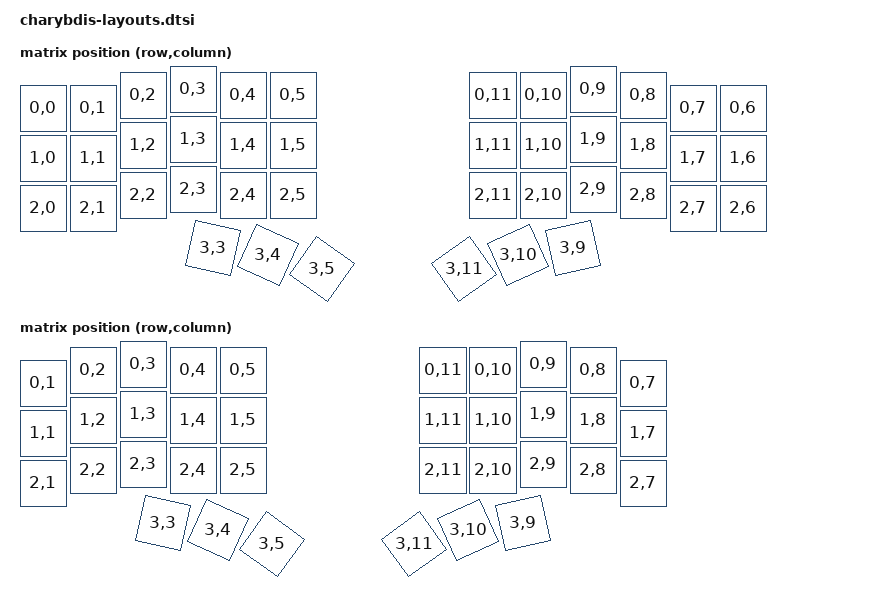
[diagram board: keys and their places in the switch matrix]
/*
 * Copyright (c) 2026 The ZMK Contributors
 * SPDX-License-Identifier: MIT
 *
 * Matrix Transforms & Physical Layouts for V&Z-MINI36M (Charybdis Mini MOD 42-key: 3x6 + 3L/3R thumbs)
 * Shared identically across all shields (Left, Right Central, Right Peripheral, and Central Dongle).
 */

#include <dt-bindings/zmk/matrix_transform.h>
#include <physical_layouts.dtsi>

/ {
    /*
     * Основная матрица трансформации — 42 клавиши (3x6 + 3 тамб-клавиши слева и 3 справа).
     * Восстановлена 1-в-1 из заводского бинарника charybdis_right-nice_nano_v2-zmk.uf2 (@ 0x0005DC78):
     * - Левая половина: колонки 0..5 (слева направо), тамб-кластер на RC(3,3), RC(3,4), RC(3,5).
     * - Правая половина (col-offset = <6>): зеркальный порядок колонок 11..6 (от центра к мизинцу),
     *   симметричный тамб-кластер из 3 клавиш на RC(3,11), RC(3,10), RC(3,9).
     */
    default_transform: keymap_transform_0 {
        compatible = "zmk,matrix-transform";
        columns = <12>;
        rows = <4>;

        map = <
            RC(0,0) RC(0,1) RC(0,2) RC(0,3) RC(0,4) RC(0,5)   RC(0,11) RC(0,10) RC(0,9) RC(0,8) RC(0,7) RC(0,6)
            RC(1,0) RC(1,1) RC(1,2) RC(1,3) RC(1,4) RC(1,5)   RC(1,11) RC(1,10) RC(1,9) RC(1,8) RC(1,7) RC(1,6)
            RC(2,0) RC(2,1) RC(2,2) RC(2,3) RC(2,4) RC(2,5)   RC(2,11) RC(2,10) RC(2,9) RC(2,8) RC(2,7) RC(2,6)
                                    RC(3,3) RC(3,4) RC(3,5)   RC(3,11) RC(3,10) RC(3,9)
        >;
    };

    /*
     * Дополнительная виртуальная матрица 3x5+3 (36 клавиш, без внешних мизинцевых колонок col 0 и col 6),
     * доступная для переключения прямо в интерфейсе ZMK Studio.
     */
    five_column_transform: keymap_transform_1 {
        compatible = "zmk,matrix-transform";
        columns = <12>;
        rows = <4>;

        map = <
            RC(0,1) RC(0,2) RC(0,3) RC(0,4) RC(0,5)   RC(0,11) RC(0,10) RC(0,9) RC(0,8) RC(0,7)
            RC(1,1) RC(1,2) RC(1,3) RC(1,4) RC(1,5)   RC(1,11) RC(1,10) RC(1,9) RC(1,8) RC(1,7)
            RC(2,1) RC(2,2) RC(2,3) RC(2,4) RC(2,5)   RC(2,11) RC(2,10) RC(2,9) RC(2,8) RC(2,7)
                            RC(3,3) RC(3,4) RC(3,5)   RC(3,11) RC(3,10) RC(3,9)
        >;
    };

    /*
     * Эргономичная физическая раскладка 3x6 + 3/3 (42 клавиши) для ZMK Studio.
     * Свойство kscan намеренно не задано на узле layout (берётся из chosen zmk,kscan),
     * чтобы один и тот же layout работал и на физических половинах (&kscan0), и на донгле (&mock_kscan).
     */
    charybdis_6col_layout: charybdis_6col_layout {
        compatible = "zmk,physical-layout";
        display-name = "Charybdis Mini MOD 3x6+3 (42 keys)";
        transform = <&default_transform>;

        keys  //                     w   h    x    y     rot    rx    ry
            /* ── Row 0: Left (0..5) & Right (6..11) ── */
            = <&key_physical_attrs 100 100    0   38       0     0     0>
            , <&key_physical_attrs 100 100  100   38       0     0     0>
            , <&key_physical_attrs 100 100  200   12       0     0     0>
            , <&key_physical_attrs 100 100  300    0       0     0     0>
            , <&key_physical_attrs 100 100  400   12       0     0     0>
            , <&key_physical_attrs 100 100  500   12       0     0     0>
            , <&key_physical_attrs 100 100  900   12       0     0     0>
            , <&key_physical_attrs 100 100 1000   12       0     0     0>
            , <&key_physical_attrs 100 100 1100    0       0     0     0>
            , <&key_physical_attrs 100 100 1200   12       0     0     0>
            , <&key_physical_attrs 100 100 1300   38       0     0     0>
            , <&key_physical_attrs 100 100 1400   38       0     0     0>

            /* ── Row 1: Left (12..17) & Right (18..23) ── */
            , <&key_physical_attrs 100 100    0  138       0     0     0>
            , <&key_physical_attrs 100 100  100  138       0     0     0>
            , <&key_physical_attrs 100 100  200  112       0     0     0>
            , <&key_physical_attrs 100 100  300  100       0     0     0>
            , <&key_physical_attrs 100 100  400  112       0     0     0>
            , <&key_physical_attrs 100 100  500  112       0     0     0>
            , <&key_physical_attrs 100 100  900  112       0     0     0>
            , <&key_physical_attrs 100 100 1000  112       0     0     0>
            , <&key_physical_attrs 100 100 1100  100       0     0     0>
            , <&key_physical_attrs 100 100 1200  112       0     0     0>
            , <&key_physical_attrs 100 100 1300  138       0     0     0>
            , <&key_physical_attrs 100 100 1400  138       0     0     0>

            /* ── Row 2: Left (24..29) & Right (30..35) ── */
            , <&key_physical_attrs 100 100    0  238       0     0     0>
            , <&key_physical_attrs 100 100  100  238       0     0     0>
            , <&key_physical_attrs 100 100  200  212       0     0     0>
            , <&key_physical_attrs 100 100  300  200       0     0     0>
            , <&key_physical_attrs 100 100  400  212       0     0     0>
            , <&key_physical_attrs 100 100  500  212       0     0     0>
            , <&key_physical_attrs 100 100  900  212       0     0     0>
            , <&key_physical_attrs 100 100 1000  212       0     0     0>
            , <&key_physical_attrs 100 100 1100  200       0     0     0>
            , <&key_physical_attrs 100 100 1200  212       0     0     0>
            , <&key_physical_attrs 100 100 1300  238       0     0     0>
            , <&key_physical_attrs 100 100 1400  238       0     0     0>

            /* ── Row 3: Symmetrical 3+3 Thumb Clusters (36..38 Left, 39..41 Right) ── */
            , <&key_physical_attrs 100 100  340  318    1200   390   368>
            , <&key_physical_attrs 100 100  450  332    2400   500   382>
            , <&key_physical_attrs 100 100  558  360    3600   608   410>
            , <&key_physical_attrs 100 100  842  360 (-3600)   892   410>
            , <&key_physical_attrs 100 100  950  332 (-2400)  1000   382>
            , <&key_physical_attrs 100 100 1060  318 (-1200)  1110   368>
            ;
    };

    /*
     * Альтернативная физическая раскладка 3x5 + 3/3 (36 клавиш) для ZMK Studio.
     */
    charybdis_5col_layout: charybdis_5col_layout {
        compatible = "zmk,physical-layout";
        display-name = "Charybdis Mini MOD 3x5+3 (36 keys)";
        transform = <&five_column_transform>;

        keys  //                     w   h    x    y     rot    rx    ry
            /* ── Row 0: Left (5) & Right (5) ── */
            = <&key_physical_attrs 100 100  100   38       0     0     0>
            , <&key_physical_attrs 100 100  200   12       0     0     0>
            , <&key_physical_attrs 100 100  300    0       0     0     0>
            , <&key_physical_attrs 100 100  400   12       0     0     0>
            , <&key_physical_attrs 100 100  500   12       0     0     0>
            , <&key_physical_attrs 100 100  900   12       0     0     0>
            , <&key_physical_attrs 100 100 1000   12       0     0     0>
            , <&key_physical_attrs 100 100 1100    0       0     0     0>
            , <&key_physical_attrs 100 100 1200   12       0     0     0>
            , <&key_physical_attrs 100 100 1300   38       0     0     0>

            /* ── Row 1: Left (5) & Right (5) ── */
            , <&key_physical_attrs 100 100  100  138       0     0     0>
            , <&key_physical_attrs 100 100  200  112       0     0     0>
            , <&key_physical_attrs 100 100  300  100       0     0     0>
            , <&key_physical_attrs 100 100  400  112       0     0     0>
            , <&key_physical_attrs 100 100  500  112       0     0     0>
            , <&key_physical_attrs 100 100  900  112       0     0     0>
            , <&key_physical_attrs 100 100 1000  112       0     0     0>
            , <&key_physical_attrs 100 100 1100  100       0     0     0>
            , <&key_physical_attrs 100 100 1200  112       0     0     0>
            , <&key_physical_attrs 100 100 1300  138       0     0     0>

            /* ── Row 2: Left (5) & Right (5) ── */
            , <&key_physical_attrs 100 100  100  238       0     0     0>
            , <&key_physical_attrs 100 100  200  212       0     0     0>
            , <&key_physical_attrs 100 100  300  200       0     0     0>
            , <&key_physical_attrs 100 100  400  212       0     0     0>
            , <&key_physical_attrs 100 100  500  212       0     0     0>
            , <&key_physical_attrs 100 100  900  212       0     0     0>
            , <&key_physical_attrs 100 100 1000  212       0     0     0>
            , <&key_physical_attrs 100 100 1100  200       0     0     0>
            , <&key_physical_attrs 100 100 1200  212       0     0     0>
            , <&key_physical_attrs 100 100 1300  238       0     0     0>

            /* ── Row 3: Symmetrical 3+3 Thumb Clusters ── */
            , <&key_physical_attrs 100 100  340  318    1200   390   368>
            , <&key_physical_attrs 100 100  450  332    2400   500   382>
            , <&key_physical_attrs 100 100  558  360    3600   608   410>
            , <&key_physical_attrs 100 100  842  360 (-3600)   892   410>
            , <&key_physical_attrs 100 100  950  332 (-2400)  1000   382>
            , <&key_physical_attrs 100 100 1060  318 (-1200)  1110   368>
            ;
    };
};
